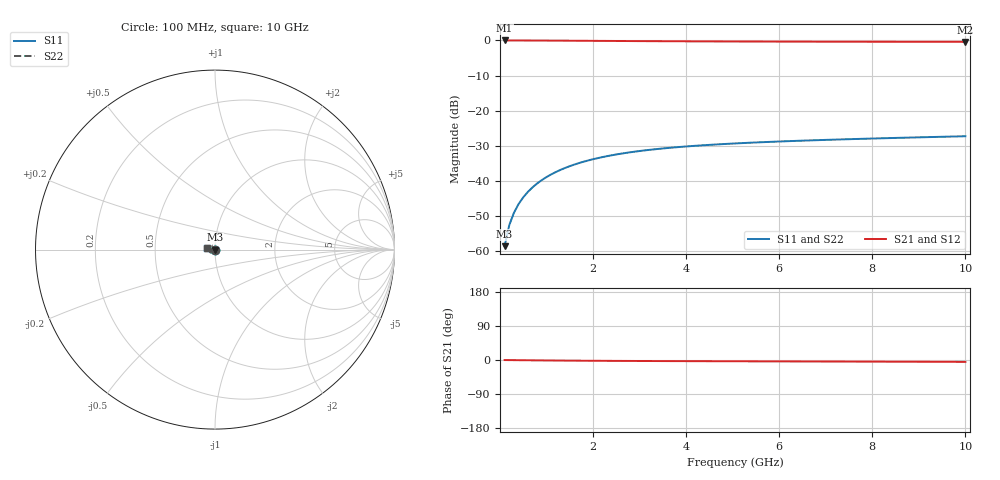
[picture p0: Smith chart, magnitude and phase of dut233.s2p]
! Touchstone file exported from HFSS 2024.1.0
!  File:  C:/UserFiles/LocalFiles/RDL_TSV_Batchsim/temp_TSV1_233_1778767464.aedt
!  Generated:  10:11:07 PM May 14, 2026
!  Design:  TSV1
!  Project:  temp_TSV1_233_1778767464
!  Setup:  Setup1
!  Solution:  Sweep
! Variables:
!  dtsv = 10.96um
!  hbump = 3um
!  htsv = 74.46um
!  lrdl = 252.1521522um
!  p = 40
!  p1 = 58.54um
!  t = 500um
!  trdl = 3um
!  wrdl = 24.89489489um
# GHz S MA R 50.000000
! Terminal data exported
! Port[1] = TSV22_T1
! Port[2] = TSV22_T2
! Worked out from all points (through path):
!   100 points, 100 MHz to 10 GHz, reference 50 ohm
!   highest |S21| = 0.00 dB at 100 MHz (marker M1); lowest = -0.4 dB at 10 GHz (marker M2)
!   lowest |S11| = -58.5 dB at 100 MHz (marker M3), VSWR 1.00, Z = 50 - j0.118 ohm
!   |S11| at or under -10 dB: start of sweep to end of sweep
!   |S22| runs from -58.5 to -27.3 dB; largest |S21 - S12| = 1.9e-14
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0.1  0.001184 -86.5  0.9998 -0.1  0.9998 -0.1  0.001184 -86.5
! Gamma 0 0 0 0
! Port Impedance 50 0 50 0
0.2  0.00236 -91.2  0.9997 -0.2  0.9997 -0.2  0.00236 -91.2
0.3  0.003535 -94.1  0.9995 -0.4  0.9995 -0.4  0.003535 -94.1
0.4  0.004704 -96.6  0.9992 -0.5  0.9992 -0.5  0.004704 -96.6
0.5  0.005863 -98.9  0.9988 -0.6  0.9988 -0.6  0.005863 -98.9
0.6  0.007008 -101.1  0.9983 -0.7  0.9983 -0.7  0.007008 -101.1
0.7  0.008136 -103.3  0.9978 -0.8  0.9978 -0.8  0.008136 -103.3
0.8  0.009244 -105.4  0.9972 -1.0  0.9972 -1.0  0.009244 -105.4
0.9  0.01033 -107.4  0.9965 -1.1  0.9965 -1.1  0.01033 -107.4
1.1  0.01242 -111.4  0.9951 -1.3  0.9951 -1.3  0.01242 -111.4
1.4  0.01536 -117.1  0.9927 -1.6  0.9927 -1.6  0.01536 -117.1
1.6  0.01717 -120.7  0.9909 -1.7  0.9909 -1.7  0.01717 -120.7
1.8  0.01886 -124.1  0.9891 -1.9  0.9891 -1.9  0.01886 -124.1
2.1  0.02118 -129.0  0.9864 -2.1  0.9864 -2.1  0.02118 -129.0
2.5  0.02388 -135.0  0.9828 -2.4  0.9828 -2.4  0.02388 -135.0
2.9  0.0262 -140.4  0.9795 -2.6  0.9795 -2.6  0.0262 -140.4
3.4  0.02864 -146.5  0.9758 -2.8  0.9758 -2.8  0.02864 -146.5
4.2  0.03173 -155.0  0.9708 -3.1  0.9708 -3.1  0.03173 -155.0
5.1  0.03439 -163.1  0.9665 -3.4  0.9665 -3.4  0.03439 -163.1
6.7  0.03793 -174.7  0.9611 -3.9  0.9611 -3.9  0.03793 -174.7
8.4  0.04089 175.4  0.9575 -4.4  0.9575 -4.4  0.04089 175.4
10  0.04338 167.6  0.9552 -5.0  0.9552 -5.0  0.04338 167.6
